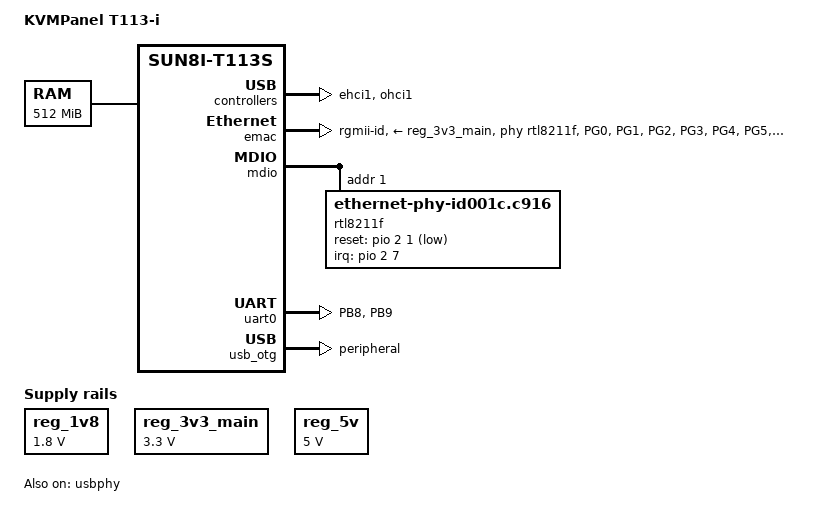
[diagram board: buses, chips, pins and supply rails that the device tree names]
// SPDX-License-Identifier: (GPL-2.0-only OR MIT)
/dts-v1/;

#include <dt-bindings/clock/sun20i-d1-ccu.h>
#include <dt-bindings/gpio/gpio.h>
#include <dt-bindings/interrupt-controller/irq.h>
#include "sun8i-t113s.dtsi"
#include "kvmpanel-stc-power.dtsi"

/ {
	model = "KVMPanel T113-i";
	compatible = "kvmpanel,t113-i", "allwinner,sun8i-t113s";

	aliases {
		serial0 = &uart0;
	};

	chosen {
		stdout-path = "serial0:115200n8";
	};

	/* Nominal capacity of the single K4B4G1646D-BCK0 on the PCB. */
	memory@40000000 {
		device_type = "memory";
		reg = <0x40000000 0x20000000>;
	};

	reg_1v8: regulator-1v8 {
		compatible = "regulator-fixed";
		regulator-name = "1V8";
		regulator-min-microvolt = <1800000>;
		regulator-max-microvolt = <1800000>;
		regulator-always-on;
	};

	reg_3v3_main: regulator-3v3-main {
		compatible = "regulator-fixed";
		regulator-name = "3V3_MAIN";
		regulator-min-microvolt = <3300000>;
		regulator-max-microvolt = <3300000>;
		regulator-always-on;
	};

	reg_5v: regulator-5v {
		compatible = "regulator-fixed";
		regulator-name = "5V";
		regulator-min-microvolt = <5000000>;
		regulator-max-microvolt = <5000000>;
		regulator-always-on;
	};
};

&ehci1 {
	status = "okay";
};

&emac {
	pinctrl-0 = <&rgmii_pg_pins>;
	pinctrl-names = "default";
	phy-handle = <&rtl8211f>;
	phy-mode = "rgmii-id";
	phy-supply = <&reg_3v3_main>;
	status = "okay";
};

&mdio {
	rtl8211f: ethernet-phy@1 {
		compatible = "ethernet-phy-id001c.c916", "ethernet-phy-ieee802.3-c22";
		reg = <1>;
		/* The PHY uses its own 25 MHz crystal. */
		reset-gpios = <&pio 2 1 GPIO_ACTIVE_LOW>;
		reset-assert-us = <10000>;
		/* Allow crystal startup, 1 V rise and PHY settle time before MDIO. */
		reset-deassert-us = <200000>;
		interrupts-extended = <&pio 2 7 IRQ_TYPE_LEVEL_LOW>;
	};
};

&ohci1 {
	status = "okay";
};

&pio {
	vcc-pb-supply = <&reg_3v3_main>;
	vcc-pc-supply = <&reg_3v3_main>;
	vcc-pg-supply = <&reg_3v3_main>;

	rgmii_pg_pins: rgmii-pg-pins {
		pins = "PG0", "PG1", "PG2", "PG3", "PG4", "PG5", "PG6",
		       "PG7", "PG8", "PG9", "PG10", "PG12", "PG14", "PG15";
		function = "emac";
	};

	/* UART0 is routed to U11 (CH343K) on the USB2 debug connector. */
	uart0_pb8_pins: uart0-pb8-pins {
		pins = "PB8", "PB9";
		function = "uart0";
	};
};

&uart0 {
	pinctrl-0 = <&uart0_pb8_pins>;
	pinctrl-names = "default";
	status = "okay";
};

&usb_otg {
	dr_mode = "peripheral";
	status = "okay";
};

&usbphy {
	usb1_vbus-supply = <&reg_5v>;
	status = "okay";
};
